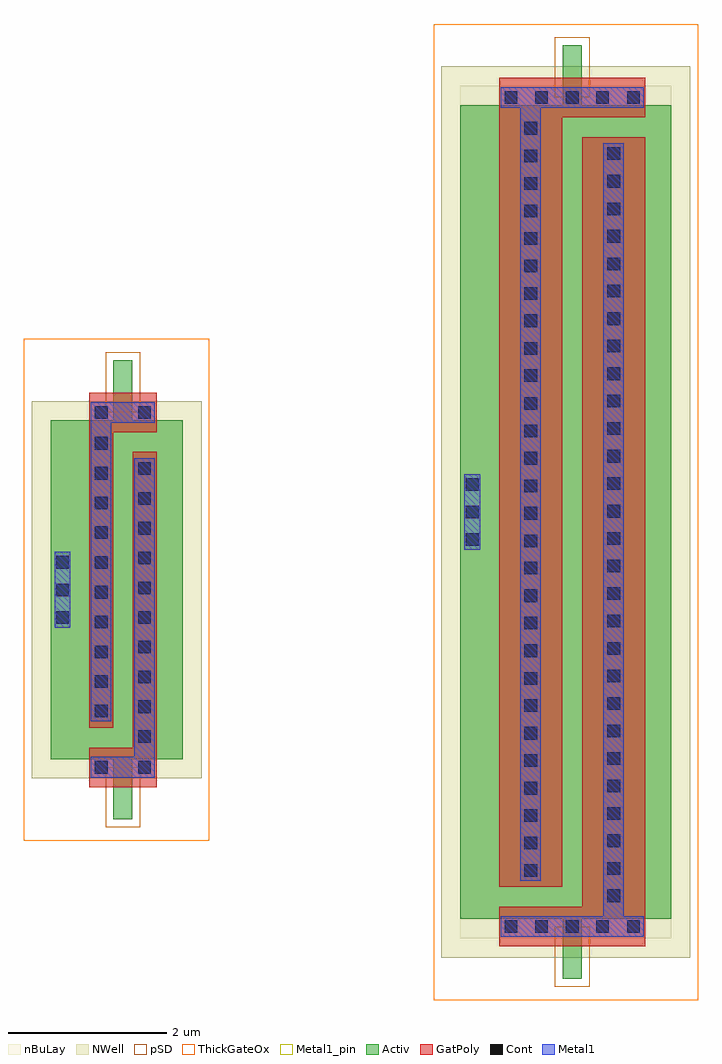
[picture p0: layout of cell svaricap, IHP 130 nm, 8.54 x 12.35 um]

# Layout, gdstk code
import gdstk
lib = gdstk.Library(unit=1e-6, precision=1e-09)
def R(c, l, rs):  # rectangles x0, y0, x1, y1
    for r in rs: c.add(gdstk.rectangle(r[:2], r[2:], *l))
def A(c, l, x, y, w, h, nx, ny, dx, dy):  # array of equal rectangles
    R(c, l, [(x+i*dx, y+j*dy, x+i*dx+w, y+j*dy+h) for i in range(nx) for j in range(ny)])
Activ = (1, 0)
GatPoly = (5, 0)
Cont = (6, 0)
Metal1 = (8, 0)
Metal1_pin = (8, 2)
pSD = (14, 0)
NWell = (31, 0)
nBuLay = (32, 0)
ThickGateOx = (44, 0)

svaricap = lib.new_cell('SVaricap')
R(svaricap, Activ, [(1.035,-0.52,1.275,0.24), (0.24,0.24,1.91,4.53), (1.035,4.53,1.275,5.29)])
R(svaricap, GatPoly, [(0.73,-0.11,1.58,0.39), (1.28,0.39,1.58,4.13), (0.73,0.64,1.03,4.38), (0.73,4.38,1.58,4.88)])
A(svaricap, Cont, 1.35, 0.45, 0.16, 0.16, 1, 3, 0, 0.375)
A(svaricap, Cont, 0.8, 0.77, 0.16, 0.16, 1, 3, 0, 0.375)
A(svaricap, Cont, 1.35, 1.58, 0.16, 0.16, 1, 3, 0, 0.375)
A(svaricap, Cont, 0.8, 1.9, 0.16, 0.16, 1, 3, 0, 0.375)
A(svaricap, Cont, 0.31, 1.955, 0.16, 0.16, 1, 3, 0, 0.35)
A(svaricap, Cont, 1.35, 2.71, 0.16, 0.16, 1, 3, 0, 0.375)
A(svaricap, Cont, 0.8, 3.03, 0.16, 0.16, 1, 3, 0, 0.375)
R(svaricap, Cont, [(0.8,0.06,0.96,0.22), (1.35,0.06,1.51,0.22), (1.35,3.84,1.51,4), (0.8,4.16,0.96,4.32), (0.8,4.55,0.96,4.71), (1.35,4.55,1.51,4.71)])
R(svaricap, Metal1, [(0.75,0.01,1.56,0.27), (1.3,0.27,1.56,0.4), (1.3,0.4,1.56,4.05), (0.75,0.72,1.01,4.37), (0.29,1.905,0.49,2.865), (0.75,4.37,1.01,4.5), (0.75,4.5,1.56,4.76)])
R(svaricap, Metal1_pin, [(0.75,0.01,1.56,0.27), (0.29,1.915,0.49,2.855), (0.75,4.5,1.56,4.76)])
R(svaricap, pSD, [(0.935,-0.62,1.375,0.14), (0.935,4.63,1.375,5.39)])
R(svaricap, NWell, [(0,0,2.15,4.77)])
R(svaricap, nBuLay, [(0.24,0.24,1.91,4.53)])
R(svaricap, ThickGateOx, [(-0.1,-0.79,2.25,5.56)])
svaricap.add(gdstk.Label('G1', (1.155,0.14), layer=63, texttype=0))
svaricap.add(gdstk.Label('G2', (1.155,4.63), layer=63, texttype=0))
svaricap.add(gdstk.Label('W', (0.39,2.385), layer=63, texttype=0))
svaricap.add(gdstk.Label('SVaricap', (0.24,0.59), layer=63, texttype=0))

svaricap_1 = lib.new_cell('SVaricap$1')
R(svaricap_1, Activ, [(1.535,-0.52,1.775,0.24), (0.24,0.24,2.91,10.53), (1.535,10.53,1.775,11.29)])
R(svaricap_1, GatPoly, [(0.73,-0.11,2.58,0.39), (1.78,0.39,2.58,10.13), (0.73,0.64,1.53,10.38), (0.73,10.38,2.58,10.88)])
A(svaricap_1, Cont, 2.1, 2.88, 0.16, 0.16, 1, 3, 0, 0.35)
A(svaricap_1, Cont, 1.05, 3.2, 0.16, 0.16, 1, 3, 0, 0.35)
A(svaricap_1, Cont, 0.31, 4.955, 0.16, 0.16, 1, 3, 0, 0.35)
A(svaricap_1, Cont, 2.1, 6.01, 0.16, 0.16, 1, 3, 0, 0.35)
A(svaricap_1, Cont, 1.05, 6.33, 0.16, 0.16, 1, 3, 0, 0.35)
A(svaricap_1, Cont, 2.1, 9.14, 0.16, 0.16, 1, 3, 0, 0.35)
A(svaricap_1, Cont, 1.05, 9.46, 0.16, 0.16, 1, 3, 0, 0.35)
R(svaricap_1, Cont, [(0.8,0.06,0.96,0.22), (1.185,0.06,1.345,0.22), (1.575,0.06,1.735,0.22), (1.96,0.06,2.12,0.22), (2.35,0.06,2.51,0.22), (2.1,0.45,2.26,0.61), (1.05,0.77,1.21,0.93), (2.1,0.795,2.26,0.955), (1.05,1.115,1.21,1.275), (2.1,1.145,2.26,1.305), (1.05,1.465,1.21,1.625), (2.1,1.49,2.26,1.65), (1.05,1.81,1.21,1.97), (2.1,1.84,2.26,2), (1.05,2.16,1.21,2.32), (2.1,2.185,2.26,2.345), (1.05,2.505,1.21,2.665), (2.1,2.535,2.26,2.695), (1.05,2.855,1.21,3.015), (2.1,3.925,2.26,4.085), (1.05,4.245,1.21,4.405), (2.1,4.275,2.26,4.435), (1.05,4.595,1.21,4.755), (2.1,4.62,2.26,4.78), (1.05,4.94,1.21,5.1), (2.1,4.97,2.26,5.13), (1.05,5.29,1.21,5.45), (2.1,5.315,2.26,5.475), (1.05,5.635,1.21,5.795), (2.1,5.665,2.26,5.825), (1.05,5.985,1.21,6.145), (2.1,7.055,2.26,7.215), (1.05,7.375,1.21,7.535), (2.1,7.405,2.26,7.565), (1.05,7.725,1.21,7.885), (2.1,7.75,2.26,7.91), (1.05,8.07,1.21,8.23), (2.1,8.1,2.26,8.26), (1.05,8.42,1.21,8.58), (2.1,8.445,2.26,8.605), (1.05,8.765,1.21,8.925), (2.1,8.795,2.26,8.955), (1.05,9.115,1.21,9.275), (0.8,10.55,0.96,10.71), (1.185,10.55,1.345,10.71), (1.575,10.55,1.735,10.71), (1.96,10.55,2.12,10.71), (2.35,10.55,2.51,10.71)])
R(svaricap_1, Metal1, [(0.75,0.01,2.56,0.27), (2.05,0.27,2.31,0.4), (2.05,0.4,2.31,10.05), (1,0.72,1.26,10.37), (0.29,4.905,0.49,5.865), (1,10.37,1.26,10.5), (0.75,10.5,2.56,10.76)])
R(svaricap_1, Metal1_pin, [(0.75,0.01,2.56,0.27), (0.29,4.915,0.49,5.855), (0.75,10.5,2.56,10.76)])
R(svaricap_1, pSD, [(1.435,-0.62,1.875,0.14), (1.435,10.63,1.875,11.39)])
R(svaricap_1, NWell, [(0,-0.255,3.15,11.025)])
R(svaricap_1, nBuLay, [(0.24,-0.01,2.91,10.78)])
R(svaricap_1, ThickGateOx, [(-0.1,-0.79,3.25,11.56)])
svaricap_1.add(gdstk.Label('G1', (1.655,0.14), layer=63, texttype=0))
svaricap_1.add(gdstk.Label('G2', (1.655,10.63), layer=63, texttype=0))
svaricap_1.add(gdstk.Label('W', (0.39,5.385), layer=63, texttype=0))
svaricap_1.add(gdstk.Label('SVaricap', (0.24,0.34), layer=63, texttype=0))

c_svaricap = lib.new_cell('svaricap')
c_svaricap.add(gdstk.Reference(svaricap, (-0.805,-0.085)))
c_svaricap.add(gdstk.Reference(svaricap_1, (4.38,-2.1)))

lib.write_gds('svaricap.gds')
